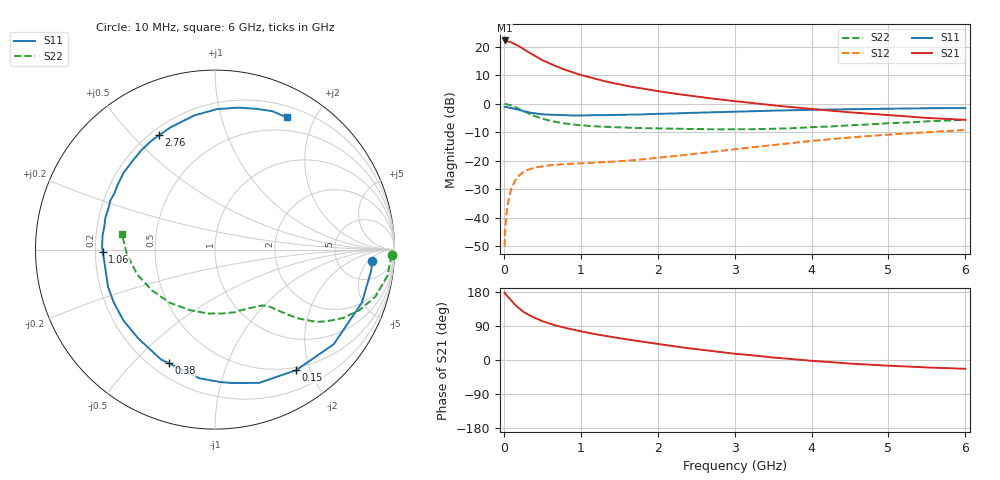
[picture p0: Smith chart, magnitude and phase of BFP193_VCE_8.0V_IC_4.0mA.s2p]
! Infineon Technologies  Discrete & RF Semiconductors
! BFP193
! VCE = 8.0 V,  IC =  4.0 mA
! Common Emitter S-Parameters:  Jan 2016
# GHz  S  MA  R  50
!  f  S11  S21  S12  S22
! GHz  MAG  ANG  MAG  ANG  MAG  ANG  MAG  ANG
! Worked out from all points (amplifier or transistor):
!   210 points, 10 MHz to 6 GHz, reference 50 ohm
!   highest |S21| = 22.1 dB at 10 MHz (marker M1)
!   |S21| within 3 dB of that: start of sweep to 254.3 MHz
!   unconditionally stable (mu >= 1): 1.392 GHz to 3.51 GHz
!   at 185 MHz: K = 0.18, MSG = 22.9 dB, |S12| = -25.6 dB
!   at 1.52 GHz: K = 1.05, MAG = 12.0 dB, |S12| = -20.1 dB
!   at 6 GHz: K = 0.90, MSG = 1.8 dB, |S12| = -9.2 dB
!   S11 on the Smith chart (normalised r, x): 10 MHz: 12, -6; 150 MHz: 0.46, -1.79; 380 MHz: 0.27, -0.64; 1.06 GHz: 0.23, -0.01; 2.76 GHz: 0.23, +0.60; 6 GHz: 0.33, +1.63
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0.01  0.878 -4.1  12.8 178.3  0.0032 85.2  0.9886 -1.8
0.03  0.8709 -11.8  12.45 172.2  0.0103 81.3  0.9768 -5.1
0.05  0.8699 -19.9  12.41 167.5  0.017 79.4  0.9721 -8.5
0.085  0.8433 -32.9  11.99 159.5  0.0282 71.9  0.9414 -14.0
0.1  0.8457 -38.6  11.88 156.0  0.0331 70.2  0.931 -16.4
0.15  0.8097 -56.1  10.93 144.6  0.0458 61.4  0.8714 -22.9
0.2  0.7822 -71.7  10.14 135.9  0.0555 54.3  0.8088 -28.1
0.24  0.7496 -82.6  9.326 129.4  0.0615 49.6  0.758 -31.4
0.3  0.7219 -97.0  8.272 121.3  0.0688 44.7  0.6955 -35.4
0.38  0.6837 -112.1  7.173 113.4  0.0743 39.2  0.6253 -38.4
0.5  0.6543 -130.7  5.801 102.5  0.0802 34.0  0.5453 -41.7
0.6  0.6452 -142.5  5.015 95.7  0.0835 31.6  0.5026 -43.3
0.8  0.6312 -160.8  3.904 84.6  0.0879 28.7  0.45 -45.7
1.02  0.6221 -176.3  3.142 74.9  0.0903 29.1  0.4164 -48.5
1.06  0.6251 -178.8  3.038 73.3  0.091 29.2  0.4123 -49.1
1.4  0.6364 163.7  2.322 60.9  0.0961 31.3  0.3908 -54.7
2.02  0.6659 139.2  1.645 41.8  0.1135 37.5  0.3665 -67.6
2.76  0.7092 116.1  1.208 22.4  0.1461 41.1  0.3558 -88.0
3.1  0.7291 107.6  1.072 14.8  0.1649 40.9  0.3571 -98.8
4.1  0.7853 87.4  0.787 -3.5  0.2292 35.4  0.3916 -133.7
5.1  0.8197 72.5  0.619 -15.9  0.2934 24.7  0.4607 -165.5
6  0.8379 61.6  0.521 -23.2  0.346 13.8  0.526 170.6
